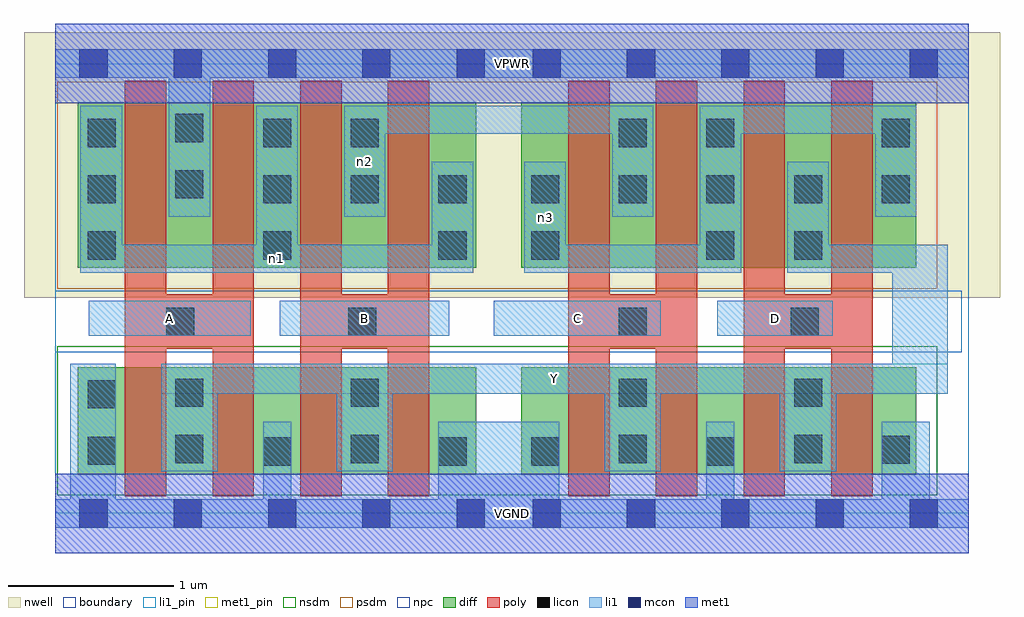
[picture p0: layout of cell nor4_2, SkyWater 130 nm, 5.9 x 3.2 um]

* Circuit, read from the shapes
.subckt nor4_2 A B C D VGND VPWR Y n1 n2 n3
XM1 Y A VGND VSUBS sky130_fd_pr__nfet_01v8 w=0.65 l=0.25 m=2
XM2 Y B VGND VSUBS sky130_fd_pr__nfet_01v8 w=0.65 l=0.25 m=2
XM3 Y C VGND VSUBS sky130_fd_pr__nfet_01v8 w=0.65 l=0.25 m=2
XM4 Y D VGND VSUBS sky130_fd_pr__nfet_01v8 w=0.65 l=0.25 m=2
XM5 VPWR A n1 n4 sky130_fd_pr__pfet_01v8 w=1 l=0.25 m=2
XM6 n2 B n1 n4 sky130_fd_pr__pfet_01v8 w=1 l=0.25 m=2
XM7 n2 C n3 n4 sky130_fd_pr__pfet_01v8 w=1 l=0.25 m=2
XM8 Y D n3 n4 sky130_fd_pr__pfet_01v8 w=1 l=0.25 m=2
.ends

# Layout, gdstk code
import gdstk
lib = gdstk.Library(unit=1e-6, precision=1e-09)
def R(c, l, rs):  # rectangles x0, y0, x1, y1
    for r in rs: c.add(gdstk.rectangle(r[:2], r[2:], *l))
def A(c, l, x, y, w, h, nx, ny, dx, dy):  # array of equal rectangles
    R(c, l, [(x+i*dx, y+j*dy, x+i*dx+w, y+j*dy+h) for i in range(nx) for j in range(ny)])
nwell = (64, 20)
diff = (65, 20)
poly = (66, 20)
licon = (66, 44)
li1_pin = (67, 16)
li1 = (67, 20)
mcon = (67, 44)
met1_pin = (68, 16)
met1 = (68, 20)
nsdm = (93, 44)
psdm = (94, 20)
npc = (95, 20)
boundary = (235, 4)

nor4_2 = lib.new_cell('nor4_2')
R(nor4_2, nwell, [(-0.19,1.305,5.71,2.91), (0,1.305,5.52,2.91)])
R(nor4_2, diff, [(0.135,0.235,2.545,0.885), (2.815,0.235,5.205,0.885), (0.135,1.485,2.545,2.485), (2.815,1.485,5.205,2.485)])
A(nor4_2, poly, 0.42, 0.105, 0.25, 2.51, 4, 1, 0.53, 0)
A(nor4_2, poly, 3.1, 0.105, 0.25, 2.51, 4, 1, 0.53, 0)
R(nor4_2, poly, [(0.42,0.995,1.2,1.325), (1.48,0.995,2.26,1.325), (3.1,0.995,3.88,1.325), (4.16,0.995,4.94,1.325)])
A(nor4_2, licon, 0.195, 1.535, 0.17, 0.17, 3, 1, 1.06, 0)
A(nor4_2, licon, 1.255, 1.875, 0.17, 0.17, 3, 1, 0.53, 0)
A(nor4_2, licon, 2.875, 1.875, 0.17, 0.17, 5, 1, 0.53, 0)
R(nor4_2, licon, [(1.255,0.29,1.425,0.46), (2.315,0.29,2.485,0.46), (2.875,0.29,3.045,0.46), (3.935,0.29,4.105,0.46), (0.195,0.295,0.365,0.465), (4.995,0.3,5.165,0.47), (0.725,0.305,0.895,0.475), (1.785,0.305,1.955,0.475), (3.405,0.305,3.575,0.475), (4.465,0.305,4.635,0.475), (0.195,0.635,0.365,0.805), (0.725,0.645,0.895,0.815), (1.785,0.645,1.955,0.815), (3.405,0.645,3.575,0.815), (4.465,0.645,4.635,0.815), (0.67,1.075,0.84,1.245), (1.77,1.075,1.94,1.245), (3.405,1.075,3.575,1.245), (4.445,1.075,4.615,1.245), (2.875,1.535,3.045,1.705), (3.935,1.535,4.105,1.705), (4.465,1.535,4.635,1.705), (0.195,1.875,0.365,2.045), (0.725,1.905,0.895,2.075), (0.195,2.215,0.365,2.385), (1.255,2.215,1.425,2.385), (1.785,2.215,1.955,2.385), (3.405,2.215,3.575,2.385), (3.935,2.215,4.105,2.385), (4.995,2.215,5.165,2.385), (0.725,2.245,0.895,2.415)])
R(nor4_2, li1_pin, [(0.64,0.725,5.395,0.905), (0.2,1.075,1.18,1.285), (1.355,1.075,2.38,1.285), (2.65,1.075,3.66,1.285), (4,1.075,4.7,1.285)])
R(nor4_2, li1, [(0,-0.085,5.52,0.085), (0.09,-0.085,0.365,0.905), (1.255,-0.085,1.425,0.555), (2.315,-0.085,3.045,0.555), (3.935,-0.085,4.105,0.555), (4.995,-0.085,5.285,0.555), (0.64,0.255,0.98,0.905), (1.7,0.255,2.04,0.905), (3.32,0.255,3.66,0.905), (4.38,0.255,4.72,0.905), (0.64,0.725,5.395,0.905), (5.06,0.725,5.395,1.625), (0.2,1.075,1.18,1.285), (1.355,1.075,2.38,1.285), (2.65,1.075,3.66,1.285), (4,1.075,4.7,1.285), (0.15,1.455,2.525,1.625), (0.15,1.455,0.405,2.465), (1.215,1.455,1.465,2.465), (2.275,1.455,2.525,2.125), (2.835,1.455,3.085,2.125), (2.835,1.455,4.145,1.625), (3.895,1.455,4.145,2.465), (4.425,1.455,4.675,2.125), (4.425,1.455,5.395,1.625), (0.685,1.795,0.935,2.805), (1.745,1.795,1.995,2.465), (3.365,1.795,3.615,2.465), (4.955,1.795,5.205,2.465), (1.745,2.295,3.615,2.465), (3.895,2.295,5.205,2.465), (0,2.635,5.52,2.805)])
A(nor4_2, mcon, 0.145, -0.085, 0.17, 0.17, 5, 2, 0.57, 2.72)
A(nor4_2, mcon, 2.885, -0.085, 0.17, 0.17, 5, 2, 0.57, 2.72)
R(nor4_2, met1_pin, [(0,-0.24,5.52,0.24), (0,2.48,5.52,2.96)])
R(nor4_2, met1, [(0,-0.24,5.52,0.24), (0,2.48,5.52,2.96)])
R(nor4_2, nsdm, [(0.01,0.11,5.33,1.01)])
R(nor4_2, psdm, [(0.01,1.36,5.33,2.61)])
R(nor4_2, npc, [(0,0.975,5.48,1.345)])
R(nor4_2, boundary, [(0,0,5.52,2.72)])
nor4_2.add(gdstk.Label('A', (0.69,1.18), layer=67, texttype=5))
nor4_2.add(gdstk.Label('B', (1.867,1.18), layer=67, texttype=5))
nor4_2.add(gdstk.Label('C', (3.155,1.18), layer=67, texttype=5))
nor4_2.add(gdstk.Label('D', (4.35,1.18), layer=67, texttype=5))
nor4_2.add(gdstk.Label('Y', (3.017,0.815), layer=67, texttype=5))
nor4_2.add(gdstk.Label('n1', (1.337,1.54), layer=67, texttype=5))
nor4_2.add(gdstk.Label('n2', (1.87,2.13), layer=67, texttype=5))
nor4_2.add(gdstk.Label('n3', (2.96,1.79), layer=67, texttype=5))
nor4_2.add(gdstk.Label('VPWR', (2.76,2.72), layer=68, texttype=5))
nor4_2.add(gdstk.Label('VGND', (2.76,0), layer=68, texttype=5))
nor4_2.add(gdstk.Label('A', (0.69,1.18), layer=67, texttype=16))
nor4_2.add(gdstk.Label('B', (1.867,1.18), layer=67, texttype=16))
nor4_2.add(gdstk.Label('C', (3.155,1.18), layer=67, texttype=16))
nor4_2.add(gdstk.Label('D', (4.35,1.18), layer=67, texttype=16))
nor4_2.add(gdstk.Label('Y', (3.017,0.815), layer=67, texttype=16))
nor4_2.add(gdstk.Label('VPWR', (2.76,2.72), layer=68, texttype=16))
nor4_2.add(gdstk.Label('VGND', (2.76,0), layer=68, texttype=16))

lib.write_gds('nor4_2.gds')
